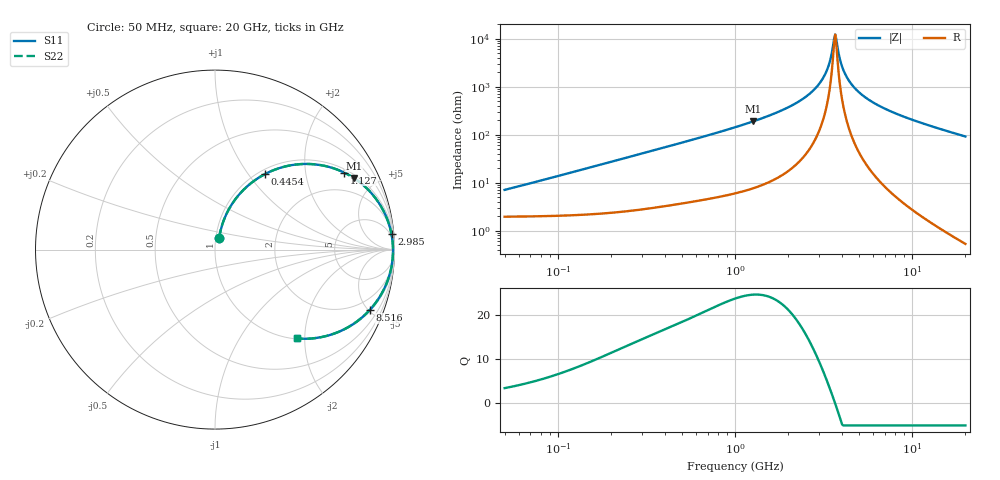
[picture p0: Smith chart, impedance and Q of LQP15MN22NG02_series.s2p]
!Murata Part Number: LQP15MN22NG02
!These Parameters are Measured in Series Mode Connection
!  o--[Z]--o
!Port1  Port2
!  o-------o
!Freq. Start=50[MHz] Stop=20[GHz], 401[Steps]
# Hz S RI R 50
!Freq.(Hz) S11(Real) S11(Imag) S21(Real) S21(Imag) S12(Real) S12(Imag) S22(Real) S22(Imag)
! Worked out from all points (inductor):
!   401 points, 50 MHz to 20 GHz, reference 50 ohm
!   read as one part in series: L = 21.6 nH near 51.52 MHz
!   highest Q = 24.7 at 1.271 GHz (marker M1), where L = 23.7 nH
!   self-resonance near 3.626 GHz
!   S11 on the Smith chart (normalised r, x): 50 MHz: 1.04, +0.14; 445.4 MHz: 1.07, +1.21; 1.127 GHz: 1.13, +3.27; 2.985 GHz: 3, +23; 8.516 GHz: 1.09, -5.10; 20 GHz: 1.01, -1.83
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5e7  0.0235 0.0651  0.9765 -0.0651  0.9765 -0.0651  0.0235 0.0651
1.364002e8  0.0521 0.1718  0.9479 -0.1718  0.9479 -0.1718  0.0521 0.1718
3.721004e8  0.2169 0.3825  0.7831 -0.3825  0.7831 -0.3825  0.2169 0.3825
4.45371e8  0.2787 0.4208  0.7213 -0.4208  0.7213 -0.4208  0.2787 0.4208
1e9  0.6628 0.4522  0.3372 -0.4522  0.3372 -0.4522  0.6628 0.4522
1.127304e9  0.7201 0.429  0.2799 -0.429  0.2799 -0.429  0.7201 0.429
1.270815e9  0.7732 0.3991  0.2268 -0.3991  0.2268 -0.3991  0.7732 0.3991
2.021818e9  0.925 0.2407  0.075 -0.2407  0.075 -0.2407  0.925 0.2407
2.728004e9  0.9752 0.1217  0.0248 -0.1217  0.0248 -0.1217  0.9752 0.1217
2.98453e9  0.9835 0.0853  0.0165 -0.0853  0.0165 -0.0853  0.9835 0.0853
3.314454e9  0.9896 0.0426  0.0104 -0.0426  0.0104 -0.0426  0.9896 0.0426
3.572216e9  0.9916 0.012  0.00838 -0.012  0.00838 -0.012  0.9916 0.012
3.680849e9  0.9919 -0.000282  0.00812 0.000282  0.00812 0.000282  0.9919 -0.000282
3.792786e9  0.9918 -0.0125  0.00817 0.0125  0.00817 0.0125  0.9918 -0.0125
3.908127e9  0.9915 -0.0248  0.00853 0.0248  0.00853 0.0248  0.9915 -0.0248
4.087748e9  0.9904 -0.0432  0.00965 0.0432  0.00965 0.0432  0.9904 -0.0432
4.539627e9  0.985 -0.0862  0.015 0.0862  0.015 0.0862  0.985 -0.0862
5.515528e9  0.9644 -0.1658  0.0356 0.1658  0.0356 0.1658  0.9644 -0.1658
7.442007e9  0.9032 -0.2853  0.0968 0.2853  0.0968 0.2853  0.9032 -0.2853
8.516016e9  0.8628 -0.3357  0.1372 0.3357  0.1372 0.3357  0.8628 -0.3357
1.334722e10  0.6713 -0.4652  0.3287 0.4652  0.3287 0.4652  0.6713 -0.4652
2e10  0.456 -0.4952  0.544 0.4952  0.544 0.4952  0.456 -0.4952
